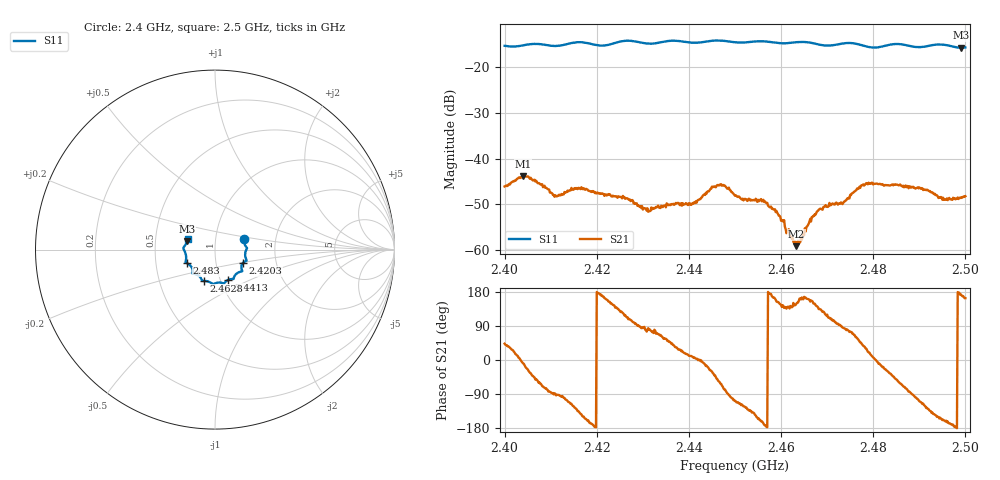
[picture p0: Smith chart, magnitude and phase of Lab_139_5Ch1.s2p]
# Hz S RI R 50
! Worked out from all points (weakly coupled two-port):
!   601 points, 2.4 GHz to 2.5 GHz, reference 50 ohm
!   highest |S21| = -43.85 dB at 2.404 GHz (marker M1); lowest = -59.1 dB at 2.4633 GHz (marker M2)
!   lowest |S11| = -15.8 dB at 2.499 GHz (marker M3), VSWR 1.39, Z = 36.4 + j3.38 ohm
!   |S11| at or under -10 dB: start of sweep to end of sweep
!   S12 and S22 are empty: the file has one direction only
!   S11 on the Smith chart (normalised r, x): 2.4 GHz: 1.37, +0.16; 2.4203 GHz: 1.35, -0.21; 2.4413 GHz: 1.09, -0.38; 2.4628 GHz: 0.83, -0.30; 2.483 GHz: 0.72, -0.11; 2.5 GHz: 0.73, +0.09
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2.4e9  0.1606 0.0566  0.00363 0.0034  0 0  0 0
2.404e9  0.1715 0.0184  0.00634 -0.000988  0 0  0 0
2.411e9  0.1681 -0.021  7.82e-05 -0.00399  0 0  0 0
2.416667e9  0.1761 -0.0615  -0.00391 -0.00291  0 0  0 0
2.420333e9  0.1552 -0.0743  -0.00417 0.000261  0 0  0 0
2.426167e9  0.1518 -0.1196  -0.00175 0.0032  0 0  0 0
2.431167e9  0.1221 -0.1323  0.000279 0.00262  0 0  0 0
2.433333e9  0.1079 -0.1486  0.00115 0.00285  0 0  0 0
2.441333e9  0.0743 -0.1681  0.00327 0.000278  0 0  0 0
2.4465e9  0.0484 -0.1886  0.00279 -0.00426  0 0  0 0
2.45e9  0.0293 -0.1839  -0.00123 -0.00374  0 0  0 0
2.4565e9  -0.0146 -0.1898  -0.00339 -0.000433  0 0  0 0
2.459167e9  -0.032 -0.1803  -0.00229 0.00116  0 0  0 0
2.462833e9  -0.0629 -0.1745  -0.000969 0.000702  0 0  0 0
2.463333e9  -0.0657 -0.1748  -0.000948 0.000575  0 0  0 0
2.466667e9  -0.0743 -0.1675  -0.00211 0.000943  0 0  0 0
2.473667e9  -0.122 -0.1341  0.000358 0.00337  0 0  0 0
2.478e9  -0.1246 -0.1162  0.0041 0.003  0 0  0 0
2.483e9  -0.1548 -0.0767  0.00452 -0.00244  0 0  0 0
2.483333e9  -0.157 -0.0756  0.00433 -0.00273  0 0  0 0
2.499e9  -0.1557 0.0452  -0.00369 0.000438  0 0  0 0
2.5e9  -0.1528 0.0584  -0.00372 0.00113  0 0  0 0
